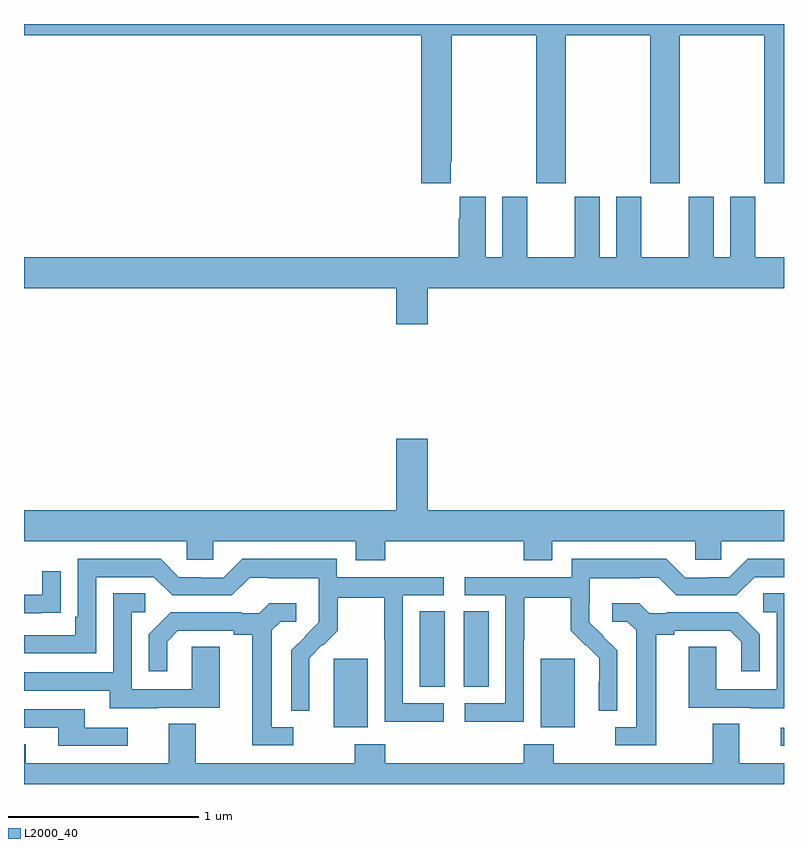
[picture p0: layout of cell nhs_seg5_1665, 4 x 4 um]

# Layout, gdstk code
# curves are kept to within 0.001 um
import gdstk
lib = gdstk.Library(unit=1e-6, precision=1e-09)
def R(c, l, rs):  # rectangles x0, y0, x1, y1
    for r in rs: c.add(gdstk.rectangle(r[:2], r[2:], *l))
def P(c, l, *ps):  # polygons
    for p in ps: c.add(gdstk.Polygon(p, *l))
L2000_40 = (2000, 40)

nhs_seg5_1665 = lib.new_cell('nhs_seg5_1665')
R(nhs_seg5_1665, L2000_40, [(214.983,873,215,873.096), (212.63,873.098,212.809,873.459), (213.719,873.098,213.898,873.459), (213.083,873.31,213.214,873.707), (213.314,873.31,213.445,873.707)])
P(nhs_seg5_1665, L2000_40, [(213.247,876.073),(213.252,876.073),(213.252,876.74),(213.697,876.74),(213.697,875.961),(213.852,875.961),(213.852,876.74),(214.297,876.74),(214.297,875.961),(214.452,875.961),(214.452,876.74),(214.897,876.74),(214.897,875.961),(215,875.961),(215,876.799),(211,876.799),(211,876.74),(213.092,876.74),(213.092,875.961),(213.247,875.961)],
  [(213.124,875.408),(215,875.408),(215,875.572),(214.849,875.572),(214.849,875.89),(214.718,875.89),(214.718,875.572),(214.63,875.572),(214.63,875.89),(214.499,875.89),(214.499,875.572),(214.249,875.572),(214.249,875.89),(214.118,875.89),(214.118,875.572),(214.03,875.572),(214.03,875.89),(213.899,875.89),(213.899,875.572),(213.649,875.572),(213.649,875.89),(213.518,875.89),(213.518,875.572),(213.43,875.572),(213.43,875.89),(213.293,875.89),(213.293,875.777),(213.287,875.777),(213.287,875.572),(211,875.572),(211,875.408),(212.96,875.408),(212.96,875.22),(213.124,875.22)],
  [(212.9,874.076),(213.629,874.076),(213.629,873.977),(213.781,873.977),(213.781,874.076),(214.533,874.076),(214.533,873.978),(214.671,873.978),(214.671,874.076),(215,874.076),(215,874.24),(213.124,874.24),(213.124,874.615),(212.96,874.615),(212.96,874.24),(211,874.24),(211,874.076),(211.857,874.076),(211.857,873.978),(211.995,873.978),(211.995,874.076),(212.747,874.076),(212.747,873.977),(212.9,873.977)],
  [(213.63,873.556),(213.633,873.556),(213.633,873.78),(213.877,873.78),(213.877,873.605),(213.954,873.528),(213.957,873.531),(214.028,873.461),(214.028,873.338),(214.026,873.338),(214.026,873.184),(214.122,873.184),(214.122,873.502),(213.976,873.65),(213.976,873.747),(213.978,873.747),(213.978,873.881),(214.241,873.881),(214.241,873.885),(214.341,873.885),(214.434,873.792),(214.749,873.792),(214.845,873.888),(215,873.888),(215,873.984),(214.809,873.984),(214.713,873.888),(214.595,873.888),(214.595,873.885),(214.479,873.885),(214.379,873.985),(213.882,873.985),(213.882,873.888),(213.321,873.888),(213.321,873.792),(213.534,873.792),(213.534,873.225),(213.321,873.225),(213.321,873.127),(213.63,873.127)],
  [(213.208,873.225),(212.994,873.225),(212.994,873.792),(213.208,873.792),(213.208,873.888),(212.646,873.888),(212.646,873.985),(212.149,873.985),(212.049,873.885),(211.934,873.885),(211.934,873.888),(211.815,873.888),(211.719,873.984),(211.284,873.984),(211.284,873.679),(211.271,873.679),(211.271,873.582),(211,873.582),(211,873.486),(211.38,873.486),(211.38,873.888),(211.683,873.888),(211.779,873.792),(212.094,873.792),(212.187,873.885),(212.287,873.885),(212.287,873.881),(212.55,873.881),(212.55,873.747),(212.552,873.747),(212.552,873.65),(212.406,873.502),(212.406,873.184),(212.502,873.184),(212.501,873.461),(212.571,873.531),(212.574,873.528),(212.651,873.605),(212.651,873.78),(212.896,873.78),(212.896,873.556),(212.898,873.556),(212.898,873.127),(213.208,873.127)],
  [(211.091,873.7),(211.193,873.7),(211.193,873.919),(211.097,873.919),(211.097,873.795),(211,873.795),(211,873.699),(211.091,873.699)],
  [(211.705,873.201),(212.029,873.201),(212.029,873.521),(211.884,873.521),(211.884,873.297),(211.566,873.297),(211.566,873.702),(211.639,873.702),(211.639,873.803),(211.47,873.803),(211.47,873.387),(211,873.387),(211,873.291),(211.451,873.291),(211.451,873.197),(211.705,873.197)],
  [(215,873.803),(214.89,873.803),(214.89,873.702),(214.962,873.702),(214.962,873.297),(214.644,873.297),(214.644,873.521),(214.499,873.521),(214.499,873.201),(214.823,873.201),(214.823,873.197),(215,873.197)],
  [(212.416,873.099),(212.305,873.099),(212.305,873.607),(212.352,873.654),(212.434,873.654),(212.434,873.751),(212.29,873.751),(212.238,873.699),(212.144,873.699),(212.144,873.702),(211.772,873.702),(211.656,873.586),(211.656,873.393),(211.753,873.393),(211.753,873.549),(211.81,873.606),(212.105,873.606),(212.105,873.584),(212.201,873.584),(212.201,873.003),(212.416,873.003)],
  [(214.327,873.584),(214.423,873.584),(214.423,873.606),(214.718,873.606),(214.775,873.549),(214.775,873.393),(214.872,873.393),(214.872,873.586),(214.756,873.702),(214.384,873.702),(214.384,873.699),(214.29,873.699),(214.238,873.751),(214.095,873.751),(214.095,873.654),(214.176,873.654),(214.223,873.607),(214.223,873.099),(214.113,873.099),(214.113,873.003),(214.327,873.003)],
  [(211.546,873.096),(211.321,873.096),(211.321,873.192),(211,873.192),(211,873.096),(211.181,873.096),(211.181,873),(211.546,873)],
  [(215,872.908),(214.765,872.908),(214.765,873.116),(214.625,873.116),(214.625,872.908),(213.789,872.908),(213.789,873.007),(213.629,873.007),(213.629,872.908),(212.9,872.908),(212.9,873.007),(212.74,873.007),(212.74,872.908),(211.903,872.908),(211.903,873.116),(211.763,873.116),(211.763,872.908),(211.009,872.908),(211.009,873.007),(211,873.007),(211,872.799),(215,872.799)])

lib.write_gds('nhs_seg5_1665.gds')
